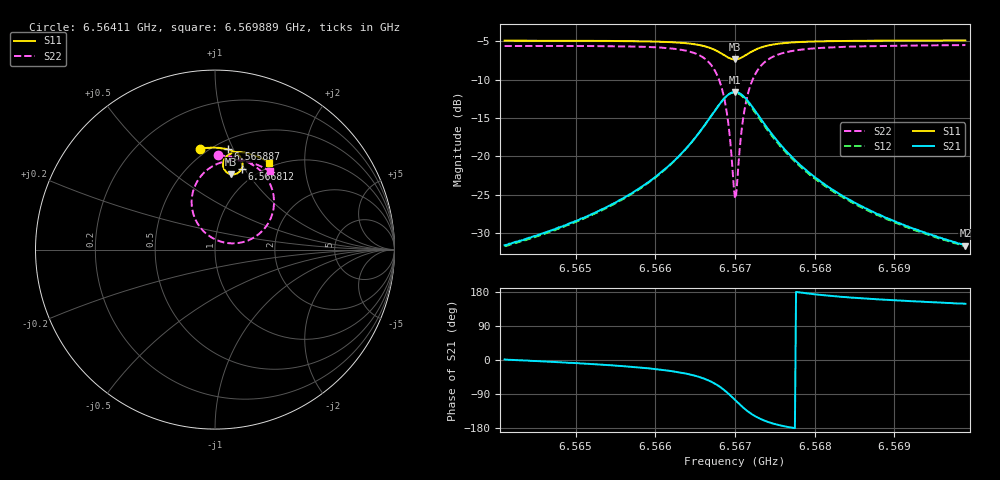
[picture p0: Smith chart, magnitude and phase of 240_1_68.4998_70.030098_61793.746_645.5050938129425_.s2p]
#  HZ  S  RI  R  50.00
! Rohde & Schwarz Vector Network Analyzer
! Rohde-Schwarz,ZNB20-2Port,1311601062101988,3.16
! Created: UTC 3/20/2024, 4:59:18 PM
! freq[Hz]  re:S11  im:S11  re:S21  im:S21  re:S12  im:S12  re:S22  im:S22
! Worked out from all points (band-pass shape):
!   401 points, 6.56411 GHz to 6.569889 GHz, reference 50 ohm
!   highest |S21| = -11.59 dB at 6.567 GHz (marker M1); lowest = -31.6 dB at 6.569889 GHz (marker M2)
!   |S21| within 3 dB of the highest: 6.56671 GHz to 6.567289 GHz (578.6 kHz wide, 0.00881 % of centre)
!   lowest |S11| = -7.3 dB at 6.567 GHz (marker M3), VSWR 2.50, Z = 40.4 + j41.6 ohm
!   |S11| at or under -10 dB: nowhere
!   |S22| runs from -25.5 to -5.5 dB; largest |S21 - S12| = 0.012
!   S11 on the Smith chart (normalised r, x): 6.56411 GHz: 0.45, +0.76; 6.565887 GHz: 0.58, +0.95; 6.566812 GHz: 0.83, +0.97; 6.569889 GHz: 0.93, +1.34
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6.5641096e9  -0.0816 0.5632  0.0263 0.000692  0.026 1.36e-05  0.0172 0.5249
6.5650777e9  -0.00334 0.5681  0.0389 -0.00614  0.0382 -0.00681  0.106 0.5144
6.5658869e9  0.0697 0.5588  0.0619 -0.0242  0.0609 -0.0249  0.2034 0.4767
6.5660458e9  0.0859 0.5539  0.0695 -0.0323  0.0685 -0.0332  0.2282 0.4601
6.5663493e9  0.1194 0.537  0.0885 -0.0607  0.0871 -0.0618  0.2838 0.4042
6.566566e9  0.144 0.5114  0.1021 -0.1052  0.0999 -0.1071  0.3229 0.3182
6.5667105e9  0.1542 0.4806  0.0982 -0.1587  0.0944 -0.1616  0.3236 0.2157
6.5668117e9  0.149 0.4513  0.0721 -0.2091  0.0655 -0.2119  0.2785 0.121
6.5668984e9  0.1285 0.4277  0.02 -0.248  0.0104 -0.2485  0.1843 0.0509
6.5669273e9  0.1181 0.4224  -0.00377 -0.2556  -0.0141 -0.2549  0.141 0.0385
6.5669851e9  0.0937 0.4191  -0.0566 -0.257  -0.0673 -0.2524  0.0473 0.0404
6.5669995e9  0.0876 0.4202  -0.0699 -0.2539  -0.0805 -0.2485  0.0243 0.0472
6.5670284e9  0.0756 0.4242  -0.0952 -0.2441  -0.1048 -0.2369  -0.0187 0.067
6.5670862e9  0.0568 0.4392  -0.1362 -0.2122  -0.143 -0.2027  -0.0857 0.1282
6.5671295e9  0.0483 0.4539  -0.1562 -0.1826  -0.1603 -0.1723  -0.1154 0.1824
6.5671873e9  0.0445 0.4741  -0.1687 -0.1428  -0.1699 -0.1329  -0.13 0.2533
6.5672596e9  0.0485 0.4958  -0.1685 -0.1003  -0.1673 -0.092  -0.1215 0.3271
6.5675197e9  0.0875 0.5345  -0.1263 -0.022  -0.1235 -0.0183  -0.0258 0.4571
6.5679676e9  0.146 0.5423  -0.0752 0.00791  -0.0733 0.00918  0.0946 0.4969
6.5683867e9  0.1873 0.5351  -0.0521 0.0132  -0.051 0.0136  0.1618 0.4932
6.5689358e9  0.2331 0.5197  -0.0363 0.0144  -0.0356 0.0147  0.2239 0.4768
6.5698894e9  0.3021 0.4844  -0.0223 0.0137  -0.022 0.0138  0.3037 0.4378
